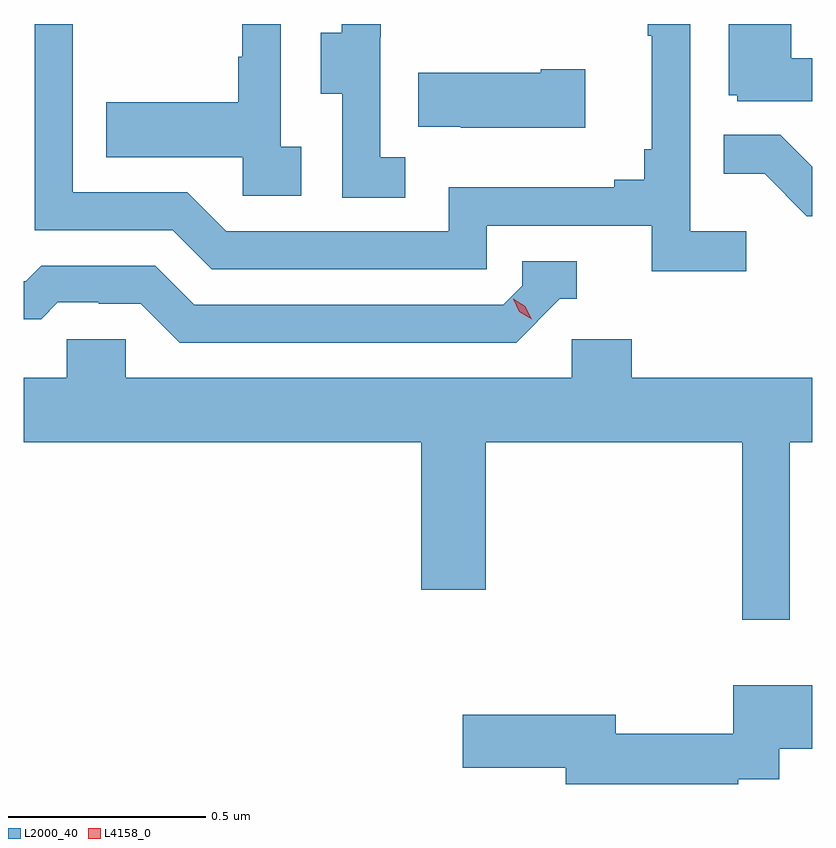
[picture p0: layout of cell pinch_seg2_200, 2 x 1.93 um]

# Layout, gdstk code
import gdstk
lib = gdstk.Library(unit=1e-6, precision=1e-09)
def P(c, l, *ps):  # polygons
    for p in ps: c.add(gdstk.Polygon(p, *l))
L2000_40 = (2000, 40)
L4158_0 = (4158, 0)

pinch_seg2_200 = lib.new_cell('pinch_seg2_200')
P(pinch_seg2_200, L2000_40, [(993.172,664.594),(993.118,664.594),(993.118,664.681),(992.96,664.681),(992.96,664.5),(992.982,664.5),(992.982,664.485),(993.172,664.485)],
  [(993.004,664.156),(992.862,664.156),(992.862,664.681),(992.754,664.681),(992.754,664.651),(992.765,664.651),(992.765,664.363),(992.746,664.363),(992.746,664.286),(992.669,664.286),(992.669,664.267),(992.25,664.267),(992.25,664.155),(991.686,664.155),(991.587,664.254),(991.296,664.254),(991.296,664.681),(991.2,664.681),(991.2,664.158),(991.55,664.158),(991.649,664.059),(992.346,664.059),(992.346,664.17),(992.765,664.17),(992.765,664.054),(993.004,664.054)],
  [(991.876,664.37),(991.824,664.37),(991.824,664.681),(991.726,664.681),(991.726,664.598),(991.716,664.598),(991.716,664.483),(991.381,664.483),(991.381,664.343),(991.728,664.343),(991.728,664.245),(991.876,664.245)],
  [(992.14,664.343),(992.076,664.343),(992.076,664.647),(992.078,664.647),(992.078,664.681),(991.979,664.681),(991.979,664.659),(991.925,664.659),(991.925,664.504),(991.98,664.504),(991.98,664.24),(992.14,664.24)],
  [(992.596,664.566),(992.483,664.566),(992.483,664.558),(992.173,664.558),(992.173,664.421),(992.281,664.421),(992.281,664.418),(992.596,664.418)],
  [(993.172,664.319),(993.091,664.4),(992.947,664.4),(992.947,664.301),(993.051,664.301),(993.158,664.194),(993.172,664.194)],
  [(992.532,663.984),(992.575,663.984),(992.575,664.08),(992.436,664.08),(992.436,664.017),(992.388,663.969),(991.605,663.969),(991.506,664.068),(991.217,664.068),(991.178,664.029),(991.172,664.029),(991.172,663.933),(991.217,663.933),(991.259,663.975),(991.362,663.975),(991.362,663.972),(991.469,663.972),(991.568,663.873),(992.421,663.873)],
  [(993.115,663.62),(993.172,663.62),(993.172,663.784),(992.714,663.784),(992.714,663.882),(992.562,663.882),(992.562,663.784),(991.431,663.784),(991.431,663.882),(991.281,663.882),(991.281,663.784),(991.172,663.784),(991.172,663.62),(992.18,663.62),(992.18,663.246),(992.344,663.246),(992.344,663.62),(992.994,663.62),(992.994,663.171),(993.115,663.171)],
  [(992.984,662.766),(993.088,662.766),(993.088,662.843),(993.172,662.843),(993.172,663.004),(992.971,663.004),(992.971,662.882),(992.674,662.882),(992.674,662.93),(992.286,662.93),(992.286,662.795),(992.546,662.795),(992.546,662.754),(992.984,662.754)])
P(pinch_seg2_200, L4158_0, [(992.46,663.932),(992.429,663.951),(992.413,663.984),(992.413,663.984),(992.413,663.984),(992.444,663.965),(992.46,663.932),(992.46,663.932)])

lib.write_gds('pinch_seg2_200.gds')
